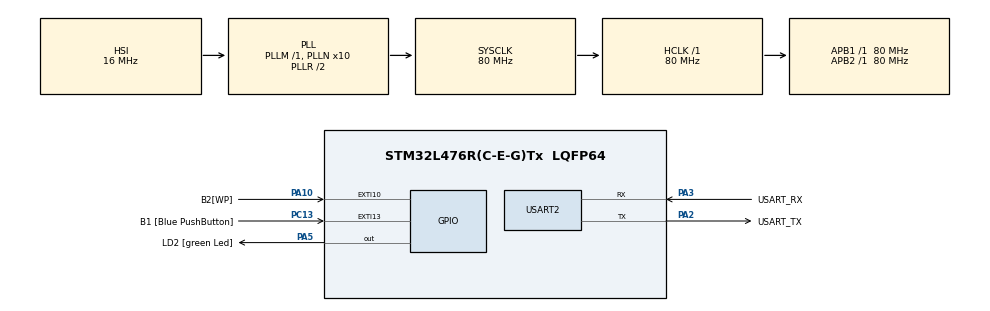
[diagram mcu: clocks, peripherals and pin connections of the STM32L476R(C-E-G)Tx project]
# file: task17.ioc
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Mcu.Family=STM32L4
Mcu.Name=STM32L476R(C-E-G)Tx
Mcu.Package=LQFP64
NVIC.EXTI15_10_IRQn=true\:0\:0\:false\:false\:true\:true\:true\:true
NVIC.PriorityGroup=NVIC_PRIORITYGROUP_4
NVIC.TIM4_IRQn=true\:0\:0\:false\:false\:true\:true\:true\:true
PA10.GPIO_Label=B2[WP]
PA10.GPIO_ModeDefaultEXTI=GPIO_MODE_IT_RISING_FALLING
PA10.Signal=GPXTI10
PA13\ (JTMS-SWDIO).GPIO_Label=TMS
PA13\ (JTMS-SWDIO).Mode=Serial_Wire
PA13\ (JTMS-SWDIO).Signal=SYS_JTMS-SWDIO
PA14\ (JTCK-SWCLK).GPIO_Label=TCK
PA14\ (JTCK-SWCLK).Mode=Serial_Wire
PA14\ (JTCK-SWCLK).Signal=SYS_JTCK-SWCLK
PA2.GPIO_Label=USART_TX
PA2.GPIO_Mode=GPIO_MODE_AF_PP
PA2.GPIO_PuPd=GPIO_NOPULL
PA2.GPIO_Speed=GPIO_SPEED_FREQ_VERY_HIGH
PA2.Mode=Asynchronous
PA2.Signal=USART2_TX
PA3.GPIO_Label=USART_RX
PA3.GPIO_Mode=GPIO_MODE_AF_PP
PA3.GPIO_PuPd=GPIO_NOPULL
PA3.GPIO_Speed=GPIO_SPEED_FREQ_VERY_HIGH
PA3.Mode=Asynchronous
PA3.Signal=USART2_RX
PA5.GPIO_Label=LD2 [green Led]
PA5.GPIO_ModeDefaultOutputPP=GPIO_MODE_OUTPUT_PP
PA5.GPIO_PuPd=GPIO_NOPULL
PA5.GPIO_Speed=GPIO_SPEED_FREQ_LOW
PA5.Signal=GPIO_Output
PB3\ (JTDO-TRACESWO).GPIO_Label=SWO
PB3\ (JTDO-TRACESWO).Signal=SYS_JTDO-SWO
PB6.Signal=S_TIM4_CH1
PC13.GPIO_Label=B1 [Blue PushButton]
PC13.GPIO_ModeDefaultEXTI=GPIO_MODE_IT_FALLING
PC13.GPIO_PuPd=GPIO_NOPULL
PC13.Signal=GPXTI13
PC14-OSC32_IN\ (PC14).Mode=LSE-External-Oscillator
PC14-OSC32_IN\ (PC14).Signal=RCC_OSC32_IN
PC15-OSC32_OUT\ (PC15).Mode=LSE-External-Oscillator
PC15-OSC32_OUT\ (PC15).Signal=RCC_OSC32_OUT
PH0-OSC_IN\ (PH0).Signal=RCC_OSC_IN
PH1-OSC_OUT\ (PH1).Signal=RCC_OSC_OUT
ProjectManager.HeapSize=0x200
ProjectManager.StackSize=0x400
ProjectManager.TargetToolchain=STM32CubeIDE
RCC.ADCFreq_Value=64000000
RCC.AHBFreq_Value=80000000
RCC.APB1Freq_Value=80000000
RCC.APB1TimFreq_Value=80000000
RCC.APB2Freq_Value=80000000
RCC.APB2TimFreq_Value=80000000
RCC.CortexFreq_Value=80000000
RCC.HCLKFreq_Value=80000000
RCC.HSE_VALUE=8000000
RCC.HSI_VALUE=16000000
RCC.MSI_VALUE=4000000
RCC.PLLN=10
RCC.PLLSourceVirtual=RCC_PLLSOURCE_HSI
RCC.PREFETCH_ENABLE=1
RCC.SYSCLKFreq_VALUE=80000000
RCC.SYSCLKSource=RCC_SYSCLKSOURCE_PLLCLK
RCC.USBFreq_Value=64000000
RCC.VCOOutputFreq_Value=160000000
SH.S_TIM4_CH1.0=TIM4_CH1
TIM4.Channel-PWM\ Generation1\ No\ Output=TIM_CHANNEL_1
TIM4.Period=100
TIM4.Prescaler=7999
TIM4.Pulse-PWM\ Generation1\ No\ Output=30
USART2.VirtualMode-Asynchronous=VM_ASYNC
VP_TIM4_VS_ClockSourceINT.Mode=Internal
VP_TIM4_VS_no_output1.Mode=PWM Generation1 No Output
board=NUCLEO-L476RG

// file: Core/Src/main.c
/* USER CODE BEGIN Header */
/**
  ******************************************************************************
  * @file           : main.c
  * @brief          : Main program body
  ******************************************************************************
  * @attention
  *
  * Copyright (c) 2022 STMicroelectronics.
  * All rights reserved.
  *
  * This software is licensed under terms that can be found in the LICENSE file
  * in the root directory of this software component.
  * If no LICENSE file comes with this software, it is provided AS-IS.
  *
  ******************************************************************************
  */
/* USER CODE END Header */
#include "main.h"

/* USER CODE BEGIN Includes */
#include "LedControl.h"
/* USER CODE END Includes */

 TIM_HandleTypeDef htim4;

UART_HandleTypeDef huart2;

void SystemClock_Config(void);
static void MX_GPIO_Init(void);
static void MX_USART2_UART_Init(void);
static void MX_TIM4_Init(void);

/* USER CODE BEGIN 0 */

LED _ledRed;
LED _ledBlue;

void HAL_GPIO_EXTI_Callback(uint16_t GPIO_Pin){
	static int b = 0;
	if(b<=10)
	{
		setBrightness(&_ledRed, b);
		b++;
	}
	else{
		b=0;
	}
}
//start
void HAL_TIM_PeriodElapsedCallback(TIM_HandleTypeDef *htim){
	ledOn(&_ledBlue);
}
//end cicale
void HAL_TIM_PWM_PulseFinishedCallback(TIM_HandleTypeDef *htim){
	ledOff(&_ledBlue);
}

/* USER CODE END 0 */

int main(void)
{

  /* MCU Configuration--------------------------------------------------------*/

  /* Reset of all peripherals, Initializes the Flash interface and the Systick. */
  HAL_Init();

  /* Configure the system clock */
  SystemClock_Config();

  /* Initialize all configured peripherals */
  MX_GPIO_Init();
  MX_USART2_UART_Init();
  MX_TIM4_Init();
  /* USER CODE BEGIN 2 */
  ledInit(&_ledBlue,LD2_GPIO_Port,LD2_Pin);
  HAL_NVIC_EnableIRQ(TIM4_IRQn);
  HAL_TIM_Base_Init(&htim4);
  HAL_TIM_Base_Start_IT(&htim4);

  HAL_TIM_PWM_Start_IT(&htim4, TIM_CHANNEL_1);
  setBrightness(&_ledBlue, 10);
  //ledOn(&ledB);
 // ledInit(&ledR, LD3_GPIO_Port, LD3_Pin);
  /* USER CODE END 2 */

  /* Infinite loop */
  while (1)
  {

  }
}

void SystemClock_Config(void)
{
  RCC_OscInitTypeDef RCC_OscInitStruct = {0};
  RCC_ClkInitTypeDef RCC_ClkInitStruct = {0};

  /** Configure the main internal regulator output voltage
  */
  if (HAL_PWREx_ControlVoltageScaling(PWR_REGULATOR_VOLTAGE_SCALE1) != HAL_OK)
  {
    Error_Handler();
  }

  /** Initializes the RCC Oscillators according to the specified parameters
  * in the RCC_OscInitTypeDef structure.
  */
  RCC_OscInitStruct.OscillatorType = RCC_OSCILLATORTYPE_HSI;
  RCC_OscInitStruct.HSIState = RCC_HSI_ON;
  RCC_OscInitStruct.HSICalibrationValue = RCC_HSICALIBRATION_DEFAULT;
  RCC_OscInitStruct.PLL.PLLState = RCC_PLL_ON;
  RCC_OscInitStruct.PLL.PLLSource = RCC_PLLSOURCE_HSI;
  RCC_OscInitStruct.PLL.PLLM = 1;
  RCC_OscInitStruct.PLL.PLLN = 10;
  RCC_OscInitStruct.PLL.PLLP = RCC_PLLP_DIV7;
  RCC_OscInitStruct.PLL.PLLQ = RCC_PLLQ_DIV2;
  RCC_OscInitStruct.PLL.PLLR = RCC_PLLR_DIV2;
  if (HAL_RCC_OscConfig(&RCC_OscInitStruct) != HAL_OK)
  {
    Error_Handler();
  }

  /** Initializes the CPU, AHB and APB buses clocks
  */
  RCC_ClkInitStruct.ClockType = RCC_CLOCKTYPE_HCLK|RCC_CLOCKTYPE_SYSCLK
                              |RCC_CLOCKTYPE_PCLK1|RCC_CLOCKTYPE_PCLK2;
  RCC_ClkInitStruct.SYSCLKSource = RCC_SYSCLKSOURCE_PLLCLK;
  RCC_ClkInitStruct.AHBCLKDivider = RCC_SYSCLK_DIV1;
  RCC_ClkInitStruct.APB1CLKDivider = RCC_HCLK_DIV1;
  RCC_ClkInitStruct.APB2CLKDivider = RCC_HCLK_DIV1;

  if (HAL_RCC_ClockConfig(&RCC_ClkInitStruct, FLASH_LATENCY_4) != HAL_OK)
  {
    Error_Handler();
  }
}

static void MX_TIM4_Init(void)
{

  TIM_ClockConfigTypeDef sClockSourceConfig = {0};
  TIM_MasterConfigTypeDef sMasterConfig = {0};
  TIM_OC_InitTypeDef sConfigOC = {0};

  htim4.Instance = TIM4;
  htim4.Init.Prescaler = 7999;
  htim4.Init.CounterMode = TIM_COUNTERMODE_UP;
  htim4.Init.Period = 100;
  htim4.Init.ClockDivision = TIM_CLOCKDIVISION_DIV1;
  htim4.Init.AutoReloadPreload = TIM_AUTORELOAD_PRELOAD_DISABLE;
  if (HAL_TIM_Base_Init(&htim4) != HAL_OK)
  {
    Error_Handler();
  }
  sClockSourceConfig.ClockSource = TIM_CLOCKSOURCE_INTERNAL;
  if (HAL_TIM_ConfigClockSource(&htim4, &sClockSourceConfig) != HAL_OK)
  {
    Error_Handler();
  }
  if (HAL_TIM_PWM_Init(&htim4) != HAL_OK)
  {
    Error_Handler();
  }
  sMasterConfig.MasterOutputTrigger = TIM_TRGO_RESET;
  sMasterConfig.MasterSlaveMode = TIM_MASTERSLAVEMODE_DISABLE;
  if (HAL_TIMEx_MasterConfigSynchronization(&htim4, &sMasterConfig) != HAL_OK)
  {
    Error_Handler();
  }
  sConfigOC.OCMode = TIM_OCMODE_PWM1;
  sConfigOC.Pulse = 30;
  sConfigOC.OCPolarity = TIM_OCPOLARITY_HIGH;
  sConfigOC.OCFastMode = TIM_OCFAST_DISABLE;
  if (HAL_TIM_PWM_ConfigChannel(&htim4, &sConfigOC, TIM_CHANNEL_1) != HAL_OK)
  {
    Error_Handler();
  }

}

static void MX_USART2_UART_Init(void)
{

  huart2.Instance = USART2;
  huart2.Init.BaudRate = 115200;
  huart2.Init.WordLength = UART_WORDLENGTH_8B;
  huart2.Init.StopBits = UART_STOPBITS_1;
  huart2.Init.Parity = UART_PARITY_NONE;
  huart2.Init.Mode = UART_MODE_TX_RX;
  huart2.Init.HwFlowCtl = UART_HWCONTROL_NONE;
  huart2.Init.OverSampling = UART_OVERSAMPLING_16;
  huart2.Init.OneBitSampling = UART_ONE_BIT_SAMPLE_DISABLE;
  huart2.AdvancedInit.AdvFeatureInit = UART_ADVFEATURE_NO_INIT;
  if (HAL_UART_Init(&huart2) != HAL_OK)
  {
    Error_Handler();
  }

}

static void MX_GPIO_Init(void)
{
  GPIO_InitTypeDef GPIO_InitStruct = {0};

  /* GPIO Ports Clock Enable */
  __HAL_RCC_GPIOC_CLK_ENABLE();
  __HAL_RCC_GPIOH_CLK_ENABLE();
  __HAL_RCC_GPIOA_CLK_ENABLE();
  __HAL_RCC_GPIOB_CLK_ENABLE();

  /*Configure GPIO pin Output Level */
  HAL_GPIO_WritePin(LD2_GPIO_Port, LD2_Pin, GPIO_PIN_RESET);

  /*Configure GPIO pin : B1_Pin */
  GPIO_InitStruct.Pin = B1_Pin;
  GPIO_InitStruct.Mode = GPIO_MODE_IT_FALLING;
  GPIO_InitStruct.Pull = GPIO_NOPULL;
  HAL_GPIO_Init(B1_GPIO_Port, &GPIO_InitStruct);

  /*Configure GPIO pin : LD2_Pin */
  GPIO_InitStruct.Pin = LD2_Pin;
  GPIO_InitStruct.Mode = GPIO_MODE_OUTPUT_PP;
  GPIO_InitStruct.Pull = GPIO_NOPULL;
  GPIO_InitStruct.Speed = GPIO_SPEED_FREQ_LOW;
  HAL_GPIO_Init(LD2_GPIO_Port, &GPIO_InitStruct);

  /*Configure GPIO pin : B2_Pin */
  GPIO_InitStruct.Pin = B2_Pin;
  GPIO_InitStruct.Mode = GPIO_MODE_IT_RISING_FALLING;
  GPIO_InitStruct.Pull = GPIO_NOPULL;
  HAL_GPIO_Init(B2_GPIO_Port, &GPIO_InitStruct);

  /* EXTI interrupt init*/
  HAL_NVIC_SetPriority(EXTI15_10_IRQn, 0, 0);
  HAL_NVIC_EnableIRQ(EXTI15_10_IRQn);

}

void Error_Handler(void)
{
  __disable_irq();
  while (1)
  {
  }
}
